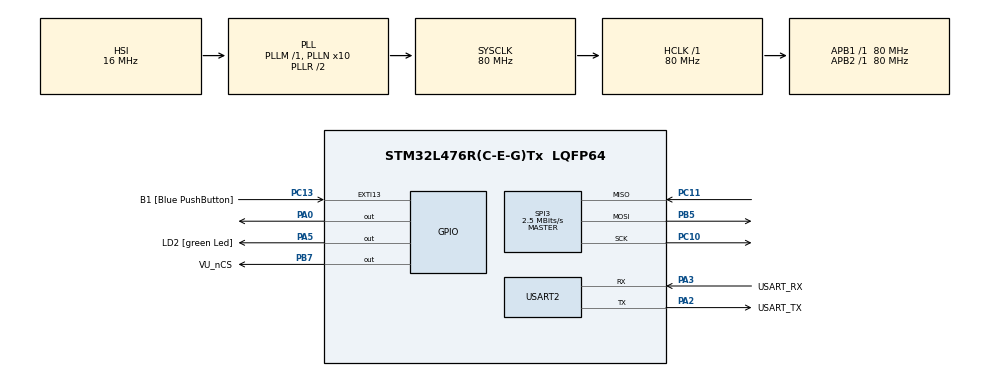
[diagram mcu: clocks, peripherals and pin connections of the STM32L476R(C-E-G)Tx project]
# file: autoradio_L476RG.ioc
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FREERTOS.Tasks01=defaultTask,0,128,StartDefaultTask,Default,NULL,Dynamic,NULL,NULL
FREERTOS.configUSE_NEWLIB_REENTRANT=1
Mcu.Family=STM32L4
Mcu.Name=STM32L476R(C-E-G)Tx
Mcu.Package=LQFP64
NVIC.PriorityGroup=NVIC_PRIORITYGROUP_4
NVIC.USART2_IRQn=true\:5\:0\:false\:false\:true\:true\:true\:true\:true
PA0.Signal=GPIO_Output
PA13\ (JTMS-SWDIO).GPIO_Label=TMS
PA13\ (JTMS-SWDIO).Mode=Serial_Wire
PA13\ (JTMS-SWDIO).Signal=SYS_JTMS-SWDIO
PA14\ (JTCK-SWCLK).GPIO_Label=TCK
PA14\ (JTCK-SWCLK).Mode=Serial_Wire
PA14\ (JTCK-SWCLK).Signal=SYS_JTCK-SWCLK
PA2.GPIO_Label=USART_TX
PA2.GPIO_Mode=GPIO_MODE_AF_PP
PA2.GPIO_PuPd=GPIO_NOPULL
PA2.GPIO_Speed=GPIO_SPEED_FREQ_VERY_HIGH
PA2.Mode=Asynchronous
PA2.Signal=USART2_TX
PA3.GPIO_Label=USART_RX
PA3.GPIO_Mode=GPIO_MODE_AF_PP
PA3.GPIO_PuPd=GPIO_NOPULL
PA3.GPIO_Speed=GPIO_SPEED_FREQ_VERY_HIGH
PA3.Mode=Asynchronous
PA3.Signal=USART2_RX
PA5.GPIO_Label=LD2 [green Led]
PA5.GPIO_ModeDefaultOutputPP=GPIO_MODE_OUTPUT_PP
PA5.GPIO_PuPd=GPIO_NOPULL
PA5.GPIO_Speed=GPIO_SPEED_FREQ_LOW
PA5.Signal=GPIO_Output
PB3\ (JTDO-TRACESWO).GPIO_Label=SWO
PB3\ (JTDO-TRACESWO).Signal=SYS_JTDO-SWO
PB5.Mode=Full_Duplex_Master
PB5.Signal=SPI3_MOSI
PB7.GPIO_Label=VU_nCS
PB7.Signal=GPIO_Output
PC10.Mode=Full_Duplex_Master
PC10.Signal=SPI3_SCK
PC11.Mode=Full_Duplex_Master
PC11.Signal=SPI3_MISO
PC13.GPIO_Label=B1 [Blue PushButton]
PC13.GPIO_ModeDefaultEXTI=GPIO_MODE_IT_FALLING
PC13.GPIO_PuPd=GPIO_NOPULL
PC13.Signal=GPXTI13
PC14-OSC32_IN\ (PC14).Mode=LSE-External-Oscillator
PC14-OSC32_IN\ (PC14).Signal=RCC_OSC32_IN
PC15-OSC32_OUT\ (PC15).Mode=LSE-External-Oscillator
PC15-OSC32_OUT\ (PC15).Signal=RCC_OSC32_OUT
PH0-OSC_IN\ (PH0).Signal=RCC_OSC_IN
PH1-OSC_OUT\ (PH1).Signal=RCC_OSC_OUT
ProjectManager.HeapSize=0x200
ProjectManager.StackSize=0x400
ProjectManager.TargetToolchain=STM32CubeIDE
RCC.ADCFreq_Value=64000000
RCC.AHBFreq_Value=80000000
RCC.APB1Freq_Value=80000000
RCC.APB1TimFreq_Value=80000000
RCC.APB2Freq_Value=80000000
RCC.APB2TimFreq_Value=80000000
RCC.CortexFreq_Value=80000000
RCC.HCLKFreq_Value=80000000
RCC.HSE_VALUE=8000000
RCC.HSI_VALUE=16000000
RCC.MSI_VALUE=4000000
RCC.PLLN=10
RCC.PLLSourceVirtual=RCC_PLLSOURCE_HSI
RCC.PREFETCH_ENABLE=1
RCC.SYSCLKFreq_VALUE=80000000
RCC.SYSCLKSource=RCC_SYSCLKSOURCE_PLLCLK
RCC.USBFreq_Value=64000000
RCC.VCOOutputFreq_Value=160000000
SPI3.BaudRatePrescaler=SPI_BAUDRATEPRESCALER_32
SPI3.CalculateBaudRate=2.5 MBits/s
SPI3.DataSize=SPI_DATASIZE_8BIT
SPI3.Direction=SPI_DIRECTION_2LINES
SPI3.Mode=SPI_MODE_MASTER
SPI3.VirtualType=VM_MASTER
USART2.VirtualMode-Asynchronous=VM_ASYNC
VP_FREERTOS_VS_CMSIS_V1.Mode=CMSIS_V1
board=NUCLEO-L476RG

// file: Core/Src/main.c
/* USER CODE BEGIN Header */
/**
 ******************************************************************************
 * @file           : main.c
 * @brief          : Main program body
 ******************************************************************************
 * @attention
 *
 * Copyright (c) 2025 STMicroelectronics.
 * All rights reserved.
 *
 * This software is licensed under terms that can be found in the LICENSE file
 * in the root directory of this software component.
 * If no LICENSE file comes with this software, it is provided AS-IS.
 *
 ******************************************************************************
 */
/* USER CODE END Header */
#include "main.h"
#include "cmsis_os.h"
#include "spi.h"
#include "usart.h"
#include "gpio.h"

/* USER CODE BEGIN Includes */
#include <stdio.h>
#include <stdlib.h>
#include "shell.h"
#include "led.h"
#include <string.h>
/* USER CODE END Includes */

/* USER CODE BEGIN PD */
#define QUEUE_LENGTH 5
#define QUEUE_ITEM_SIZE sizeof(uint32_t)
#define MAX_LEDS 16  // 8 LEDs sur port A + 8 LEDs sur port B
/* USER CODE END PD */

/* USER CODE BEGIN PV */
QueueHandle_t counterQueue;
/* USER CODE END PV */

void SystemClock_Config(void);
void MX_FREERTOS_Init(void);
/* USER CODE BEGIN PFP */
static int fonction(h_shell_t *shell, int argc, char **argv);
static int addition(h_shell_t *shell, int argc, char **argv);
static int led_control(h_shell_t *shell, int argc, char **argv);
void task_shell(void *unused);
/* USER CODE END PFP */

/* USER CODE BEGIN 0 */
int __io_putchar(int chr)
{
	HAL_UART_Transmit(&huart2, (uint8_t*)&chr, 1, HAL_MAX_DELAY);
	return chr;
}

static int fonction(h_shell_t *shell, int argc, char **argv)
{
	int size;
	size = snprintf(shell->print_buffer, BUFFER_SIZE, "Je suis une fonction bidon\r\n");
	shell_uart_write(shell->print_buffer, size);
	size = snprintf(shell->print_buffer, BUFFER_SIZE, "argc=%d\r\n", argc);
	shell_uart_write(shell->print_buffer, size);
	for (int i = 0; i < argc; i++)
	{
		size = snprintf(shell->print_buffer, BUFFER_SIZE, "argv[%d]=%s\r\n", i, argv[i]);
		shell_uart_write(shell->print_buffer, size);
	}
	return 0;
}

static int addition(h_shell_t *shell, int argc, char **argv)
{
	int sum = 0;
	for (int i = 1; i < argc; i++)
	{
		sum += atoi(argv[i]); // atoi conversion chaine de caractère en entier
	}
	int size = snprintf(shell->print_buffer, BUFFER_SIZE, "sum=%d\r\n", sum);
	shell_uart_write(shell->print_buffer, size);
	return 0;
}

void task_shell(void *unused)
{
	static h_shell_t shell_instance; // Instance statique de la structure

	shell_init(&shell_instance);
	shell_add(&shell_instance, 'f', fonction, "Une fonction inutile");
	shell_add(&shell_instance, 'a', addition, "Ma super addition");
	shell_add(&shell_instance, 'l', led_control, "LED control: l <id> <0|1>");

	shell_run(&shell_instance); // Contient une boucle infinie

	// Ne sera jamais atteint, mais pour la forme
	vTaskDelete(NULL);
}

void HAL_UART_RxCpltCallback(UART_HandleTypeDef *huart)
{
	if (huart == &huart2)
	{
		shell_uart_rx_callback();
	}
}

static int led_control(h_shell_t *shell, int argc, char **argv)
{
	int numero;
	int size;
	numero = atoi(argv[1]);
	if (argc==3)
	{
		if (numero > 8)
		{
			Select_LED('B', 16-numero,atoi(argv[2]));
		}
		else
		{
			int state = atoi(argv[2]);
			Select_LED('A', numero,atoi(argv[2]));
		}
		size = snprintf(shell->print_buffer,BUFFER_SIZE,"c'est fait chef");
	}
	else if (argc==4)
	{
		numero = atoi(argv[1]) * 10 + atoi(argv[2]);
		Select_LED('B', 16-numero,atoi(argv[3]));
		size = snprintf(shell->print_buffer,BUFFER_SIZE,"c'est fait chef");
	}
	else
	{
		size = snprintf(shell->print_buffer,BUFFER_SIZE,"Il y a pas assez de led");
	}
	drv_uart1_transmit(shell->print_buffer,size);
	return 0;
}

/* USER CODE END 0 */

int main(void)
{

	/* MCU Configuration--------------------------------------------------------*/

	/* Reset of all peripherals, Initializes the Flash interface and the Systick. */
	HAL_Init();

	/* Configure the system clock */
	SystemClock_Config();

	/* Initialize all configured peripherals */
	MX_GPIO_Init();
	MX_USART2_UART_Init();
	MX_SPI3_Init();
	/* USER CODE BEGIN 2 */
	MCP23S17_Init();
	MCP23S17_SetAllPinsHigh();
	printf("Bonjour Antonio y Louis\r\n");

	// Initialize LED with SPI3 handle

	// Création de la queue
	counterQueue = xQueueCreate(QUEUE_LENGTH, QUEUE_ITEM_SIZE);
	if (counterQueue == NULL) {
		Error_Handler();
	}

	// Création de la tâche shell
	if (xTaskCreate(task_shell, "Shell", 512, NULL, 1, NULL) != pdPASS)
	{
		printf("Error creating task Shell\r\n");
		Error_Handler();
	}

	/* USER CODE END 2 */

	/* Call init function for freertos objects (in cmsis_os2.c) */
	MX_FREERTOS_Init();

	/* Start scheduler */
	osKernelStart();

	/* We should never get here as control is now taken by the scheduler */

	/* Infinite loop */
	while (1)
	{

	}
}

void SystemClock_Config(void)
{
	RCC_OscInitTypeDef RCC_OscInitStruct = {0};
	RCC_ClkInitTypeDef RCC_ClkInitStruct = {0};

	/** Configure the main internal regulator output voltage
	 */
	if (HAL_PWREx_ControlVoltageScaling(PWR_REGULATOR_VOLTAGE_SCALE1) != HAL_OK)
	{
		Error_Handler();
	}

	/** Initializes the RCC Oscillators according to the specified parameters
	 * in the RCC_OscInitTypeDef structure.
	 */
	RCC_OscInitStruct.OscillatorType = RCC_OSCILLATORTYPE_HSI;
	RCC_OscInitStruct.HSIState = RCC_HSI_ON;
	RCC_OscInitStruct.HSICalibrationValue = RCC_HSICALIBRATION_DEFAULT;
	RCC_OscInitStruct.PLL.PLLState = RCC_PLL_ON;
	RCC_OscInitStruct.PLL.PLLSource = RCC_PLLSOURCE_HSI;
	RCC_OscInitStruct.PLL.PLLM = 1;
	RCC_OscInitStruct.PLL.PLLN = 10;
	RCC_OscInitStruct.PLL.PLLP = RCC_PLLP_DIV7;
	RCC_OscInitStruct.PLL.PLLQ = RCC_PLLQ_DIV2;
	RCC_OscInitStruct.PLL.PLLR = RCC_PLLR_DIV2;
	if (HAL_RCC_OscConfig(&RCC_OscInitStruct) != HAL_OK)
	{
		Error_Handler();
	}

	/** Initializes the CPU, AHB and APB buses clocks
	 */
	RCC_ClkInitStruct.ClockType = RCC_CLOCKTYPE_HCLK|RCC_CLOCKTYPE_SYSCLK
			|RCC_CLOCKTYPE_PCLK1|RCC_CLOCKTYPE_PCLK2;
	RCC_ClkInitStruct.SYSCLKSource = RCC_SYSCLKSOURCE_PLLCLK;
	RCC_ClkInitStruct.AHBCLKDivider = RCC_SYSCLK_DIV1;
	RCC_ClkInitStruct.APB1CLKDivider = RCC_HCLK_DIV1;
	RCC_ClkInitStruct.APB2CLKDivider = RCC_HCLK_DIV1;

	if (HAL_RCC_ClockConfig(&RCC_ClkInitStruct, FLASH_LATENCY_4) != HAL_OK)
	{
		Error_Handler();
	}
}

void Error_Handler(void)
{
	__disable_irq();
	while (1)
	{
	}
}
